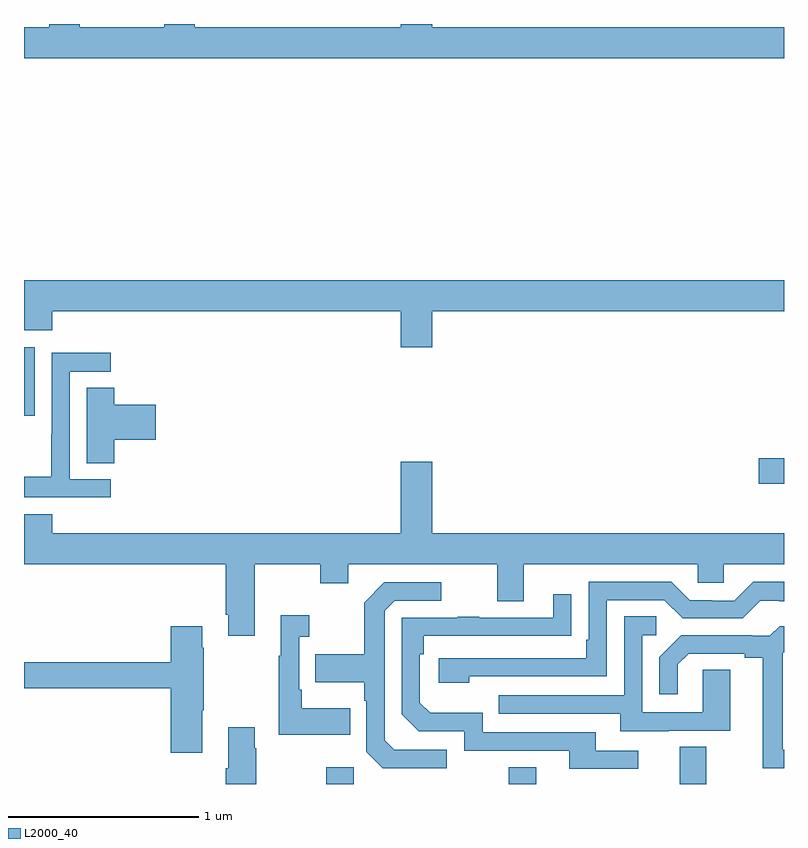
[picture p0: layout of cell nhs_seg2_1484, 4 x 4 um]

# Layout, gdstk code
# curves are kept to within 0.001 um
import gdstk
lib = gdstk.Library(unit=1e-6, precision=1e-09)
def R(c, l, rs):  # rectangles x0, y0, x1, y1
    for r in rs: c.add(gdstk.rectangle(r[:2], r[2:], *l))
def P(c, l, *ps):  # polygons
    for p in ps: c.add(gdstk.Polygon(p, *l))
L2000_40 = (2000, 40)

nhs_seg2_1484 = lib.new_cell('nhs_seg2_1484')
R(nhs_seg2_1484, L2000_40, [(188.59,659.8,188.736,659.887), (189.55,659.8,189.697,659.887), (190.451,659.8,190.591,659.996), (190.866,661.379,191,661.514), (187,661.737,187.057,662.098)])
P(nhs_seg2_1484, L2000_40, [(191,663.784),(189.148,663.784),(189.148,663.8),(188.984,663.8),(188.984,663.784),(187.898,663.784),(187.898,663.8),(187.738,663.8),(187.738,663.784),(187.293,663.784),(187.293,663.8),(187.133,663.8),(187.133,663.784),(187,663.784),(187,663.62),(191,663.62)],
  [(189.148,662.288),(191,662.288),(191,662.452),(187,662.452),(187,662.189),(187.148,662.189),(187.148,662.288),(188.984,662.288),(188.984,662.1),(189.148,662.1)],
  [(187.456,661.404),(187.242,661.404),(187.242,661.971),(187.456,661.971),(187.456,662.07),(187.146,662.07),(187.146,661.64),(187.144,661.64),(187.144,661.417),(187,661.417),(187,661.308),(187.456,661.308)],
  [(187.475,661.613),(187.693,661.613),(187.693,661.796),(187.475,661.796),(187.475,661.886),(187.331,661.886),(187.331,661.489),(187.475,661.489)],
  [(188.215,660.956),(188.56,660.956),(188.56,660.857),(188.707,660.857),(188.707,660.956),(189.491,660.956),(189.491,660.762),(189.631,660.762),(189.631,660.956),(190.545,660.956),(190.545,660.858),(190.683,660.858),(190.683,660.956),(191,660.956),(191,661.12),(189.148,661.12),(189.148,661.495),(188.984,661.495),(188.984,661.12),(187.148,661.12),(187.148,661.219),(187,661.219),(187,660.956),(188.063,660.956),(188.063,660.691),(188.075,660.691),(188.075,660.579),(188.215,660.579)],
  [(189.344,660.366),(190.068,660.366),(190.068,660.768),(190.371,660.768),(190.467,660.672),(190.782,660.672),(190.875,660.765),(190.975,660.765),(190.975,660.761),(191,660.761),(191,660.865),(190.837,660.865),(190.737,660.765),(190.622,660.765),(190.622,660.768),(190.503,660.768),(190.407,660.864),(189.972,660.864),(189.972,660.559),(189.959,660.559),(189.959,660.462),(189.183,660.462),(189.183,660.332),(189.344,660.332)],
  [(189.226,659.979),(188.949,659.979),(188.898,660.03),(188.898,660.711),(188.952,660.765),(189.196,660.765),(189.196,660.861),(188.895,660.861),(188.79,660.755),(188.79,660.483),(188.533,660.483),(188.533,660.335),(188.79,660.335),(188.79,660.239),(188.802,660.239),(188.802,659.97),(188.889,659.883),(189.226,659.883)],
  [(190.234,659.976),(190.009,659.976),(190.009,660.072),(189.414,660.072),(189.414,660.175),(189.137,660.175),(189.084,660.228),(189.084,660.482),(189.104,660.482),(189.104,660.579),(189.881,660.58),(189.881,660.799),(189.785,660.799),(189.785,660.675),(189.395,660.675),(189.395,660.68),(189.283,660.68),(189.283,660.675),(188.988,660.675),(188.988,660.168),(189.078,660.078),(189.318,660.078),(189.318,659.976),(189.869,659.976),(189.869,659.88),(190.234,659.88)],
  [(188.717,660.199),(188.461,660.199),(188.461,660.295),(188.448,660.295),(188.448,660.575),(188.5,660.575),(188.5,660.688),(188.351,660.688),(188.351,660.475),(188.34,660.475),(188.34,660.059),(188.717,660.059)],
  [(190.393,660.081),(190.717,660.081),(190.717,660.401),(190.572,660.401),(190.572,660.177),(190.254,660.177),(190.254,660.582),(190.327,660.582),(190.327,660.683),(190.158,660.683),(190.158,660.267),(189.499,660.267),(189.499,660.171),(190.139,660.171),(190.139,660.077),(190.393,660.077)],
  [(191,659.979),(190.993,659.979),(190.993,660.487),(191,660.494),(191,660.631),(190.978,660.631),(190.926,660.579),(190.832,660.579),(190.832,660.582),(190.46,660.582),(190.344,660.466),(190.344,660.273),(190.441,660.273),(190.441,660.429),(190.498,660.486),(190.793,660.486),(190.793,660.464),(190.889,660.464),(190.889,659.883),(191,659.883)],
  [(187.939,660.187),(187.947,660.187),(187.947,660.518),(187.939,660.518),(187.939,660.631),(187.772,660.631),(187.772,660.44),(187,660.44),(187,660.304),(187.772,660.304),(187.772,659.964),(187.939,659.964)],
  [(188.223,659.987),(188.215,659.987),(188.215,660.1),(188.075,660.1),(188.075,659.884),(188.063,659.884),(188.063,659.8),(188.223,659.8)])

lib.write_gds('nhs_seg2_1484.gds')
